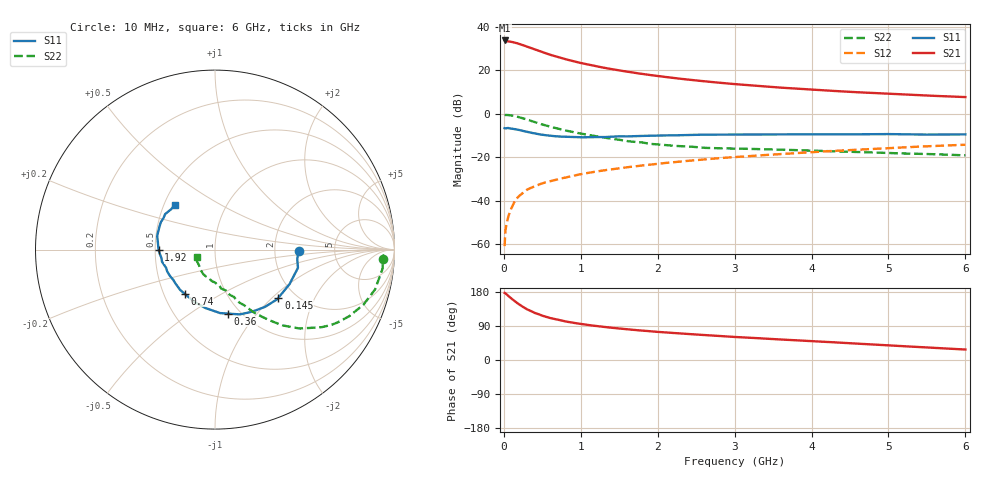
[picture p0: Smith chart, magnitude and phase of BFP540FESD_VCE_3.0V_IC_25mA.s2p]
! Infineon Technologies  Discrete & RF Semiconductors
! BFP540FESD
! VCE =  3.0 V,  IC =  25 mA
! Common Emitter S-Parameters:  Nov 2015
# GHz  S  MA  R  50
!  f  S11  S21  S12  S22
! GHz  MAG  ANG  MAG  ANG  MAG  ANG  MAG  ANG
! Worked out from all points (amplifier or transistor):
!   210 points, 10 MHz to 6 GHz, reference 50 ohm
!   highest |S21| = 33.7 dB at 10 MHz (marker M1)
!   |S21| within 3 dB of that: start of sweep to 314 MHz
!   unconditionally stable (mu >= 1): start of sweep to 10.99 MHz; 1.621 GHz to end of sweep
!   at 185 MHz: K = 0.33, MSG = 35.3 dB, |S12| = -38.3 dB
!   at 1.52 GHz: K = 0.98, MSG = 22.4 dB, |S12| = -25.0 dB
!   at 6 GHz: K = 1.17, MAG = 8.5 dB, |S12| = -14.2 dB
!   S11 on the Smith chart (normalised r, x): 10 MHz: 2.74, -0.07; 145 MHz: 1.64, -1.09; 360 MHz: 0.88, -0.72; 740 MHz: 0.64, -0.34; 1.92 GHz: 0.52, -0.00; 6 GHz: 0.57, +0.32
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0.01  0.4659 -1.3  48.61 177.1  0.0009 93.9  0.9357 -3.3
0.02  0.461 -6.3  46.78 176.0  0.002 83.9  0.9386 -2.0
0.05  0.4732 -12.4  46.75 170.7  0.0038 80.9  0.9393 -6.6
0.1  0.4577 -25.0  45.11 161.9  0.0068 84.5  0.9189 -14.0
0.145  0.4435 -37.3  43.38 154.6  0.0099 77.9  0.8849 -19.8
0.2  0.4237 -48.8  40.48 146.3  0.0129 75.2  0.8338 -26.5
0.24  0.4065 -56.9  38.28 141.3  0.0147 72.7  0.7955 -30.6
0.3  0.3868 -69.0  35.15 133.9  0.0179 69.0  0.7365 -35.9
0.36  0.3639 -78.5  32.09 128.5  0.02 67.5  0.681 -39.9
0.4  0.3548 -85.4  30.23 124.4  0.0214 66.7  0.6461 -42.9
0.5  0.3298 -99.4  26.23 116.9  0.0251 65.9  0.5667 -48.2
0.6  0.3141 -111.0  22.83 110.9  0.028 64.8  0.5047 -51.9
0.74  0.2984 -124.6  19.34 104.5  0.0323 64.1  0.4391 -56.2
0.9  0.2913 -137.8  16.23 98.2  0.0373 64.7  0.3787 -60.3
1.02  0.2879 -145.1  14.48 94.6  0.0414 64.0  0.3453 -62.8
1.4  0.296 -163.5  10.66 85.1  0.0528 63.4  0.2664 -71.6
1.92  0.3135 -179.4  7.715 75.6  0.0684 61.8  0.2025 -83.4
2.02  0.3168 177.2  7.313 73.9  0.0712 61.1  0.1967 -86.4
3.1  0.3331 160.0  4.668 59.8  0.1037 55.6  0.1572 -109.3
4.1  0.3376 151.8  3.509 48.7  0.1343 50.0  0.1402 -123.7
5.1  0.3388 143.1  2.835 37.5  0.1661 42.2  0.1235 -137.8
6  0.3355 131.8  2.422 27.6  0.194 34.9  0.1105 -157.7
